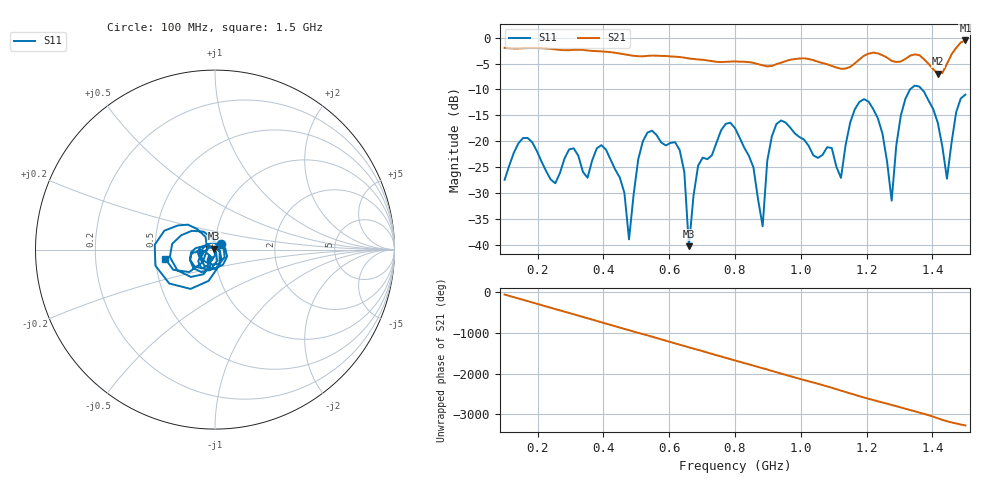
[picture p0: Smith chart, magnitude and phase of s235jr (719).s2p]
! NanoVNA-App
! Date: 2025-09-25 15:09:46
! Start: 100MHz Stop: 1,5GHz Points: 101
! S-Parameter data: F S11 S21 S12 S22
# Hz S RI R 50
!  Frequency  S11_Real  S11_Imag  S21_Real  S21_Imag  S12_Real  S12_Imag  S22_Real  S22_Imag
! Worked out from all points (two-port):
!   101 points, 100 MHz to 1.5 GHz, reference 50 ohm
!   highest |S21| = -0.53 dB at 1.5 GHz (marker M1); lowest = -7.0 dB at 1.416 GHz (marker M2)
!   |S21| within 3 dB of the highest: start of sweep to 497 MHz; 530.2 MHz to 590.6 MHz (60.43 MHz wide, 10.8 % of centre) (the widest 2 of 5)
!   lowest |S11| = -40.3 dB at 660 MHz (marker M3), VSWR 1.02, Z = 49.2 + j0.554 ohm
!   |S11| at or under -10 dB: start of sweep to 1.332 GHz; 1.368 GHz to end of sweep
!   S12 and S22 are empty: the file has one direction only
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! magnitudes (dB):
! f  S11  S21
! 100 MHz  -27.5  -2.0
! 156 MHz  -19.4  -2.0
! 338 MHz  -26.0  -2.4
! 408 MHz  -21.6  -2.7
! 478 MHz  -39.0  -3.4
! 520 MHz  -20.0  -3.6
! 576 MHz  -20.3  -3.5
! 632 MHz  -21.7  -3.7
! 660 MHz  -40.3  -4.0
! 688 MHz  -24.7  -4.2
! 800 MHz  -17.5  -4.6
! 884 MHz  -36.5  -5.4
! 898 MHz  -23.8  -5.5
! 926 MHz  -16.7  -5.1
! 1.038 GHz  -22.8  -4.4
! 1.122 GHz  -27.1  -6.0
! 1.206 GHz  -12.4  -3.1
! 1.276 GHz  -31.5  -4.5
! 1.332 GHz  -10.0  -3.5
! 1.416 GHz  -16.4  -7.0
! 1.444 GHz  -27.3  -5.1
! 1.5 GHz  -11.0  -0.5
